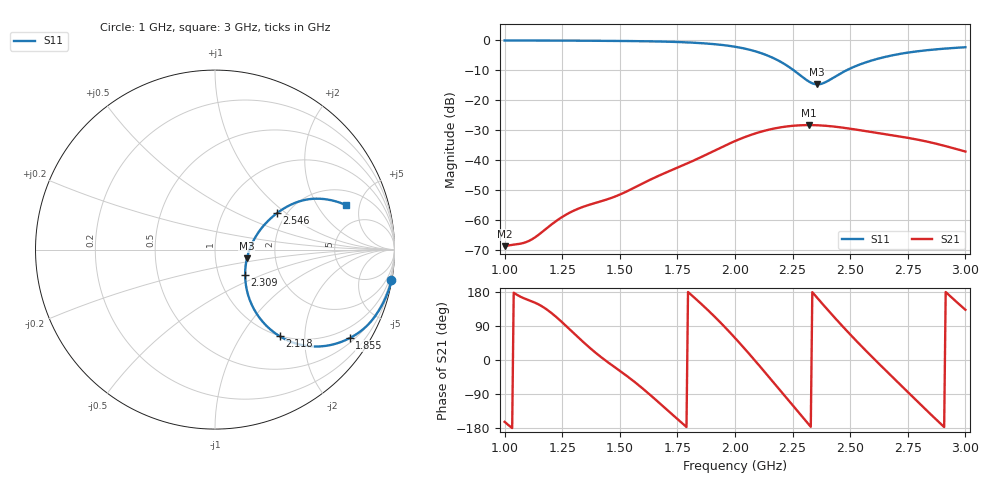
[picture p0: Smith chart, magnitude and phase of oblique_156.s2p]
! TOUCHSTONE file generated by CST MICROWAVE STUDIO
! Date and time: Tue Mar 18 00:02:27 2025
! Project name: oblique.cst
! Parameters = {Tilt=40; Fracture=1; B=10; D=160; F=25; Feed=2.85625; L=100; M=10; R=0.384908; S=2; Theta=270; length=57.125; wave=114.25}
! Header version: 2024
! Port assignment regex: !\s*Touchstone port\s*([0-9]+)\s*=\s*(CST MWS port|CST DES external port|CST DES block port)\s*(.+)\s* \(\"(.*)\"\)(\s*mode\s*([0-9]+))?.*
! Touchstone port assignment:
! Touchstone port 1 = CST MWS port 1 ("")
! Touchstone port 2 = CST MWS port 2 ("")
# GHz S DB R 50
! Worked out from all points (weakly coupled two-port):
!   305 points, 1 GHz to 3 GHz, reference 50 ohm
!   highest |S21| = -28.29 dB at 2.322 GHz (marker M1); lowest = -68.7 dB at 1 GHz (marker M2)
!   lowest |S11| = -14.7 dB at 2.355 GHz (marker M3), VSWR 1.45, Z = 71.2 - j7.21 ohm
!   |S11| at or under -10 dB: 2.255 GHz to 2.483 GHz (228.3 MHz wide, 9.64 % of centre)
!   S12 and S22 are empty: the file has one direction only
!   S11 on the Smith chart (normalised r, x): 1 GHz: 0, -12; 1.855 GHz: 0.63, -3.23; 2.118 GHz: 0.99, -1.51; 2.309 GHz: 1.34, -0.40; 2.546 GHz: 1.79, +0.87; 3 GHz: 3.01, +3.66
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1  -0.02 -9.8  -68.73 -163.1  -200.00 0.0  -200.00 0.0
1.07237  -0.03 -10.8  -67.83 166.0  -200.00 0.0  -200.00 0.0
1.11184  -0.03 -11.3  -66.73 156.2  -200.00 0.0  -200.00 0.0
1.25  -0.07 -13.6  -58.97 99.4  -200.00 0.0  -200.00 0.0
1.33553  -0.10 -15.2  -55.73 50.7  -200.00 0.0  -200.00 0.0
1.48684  -0.17 -18.6  -51.92 -22.9  -200.00 0.0  -200.00 0.0
1.67105  -0.36 -24.3  -45.13 -113.1  -200.00 0.0  -200.00 0.0
1.85526  -0.93 -33.3  -38.89 147.1  -200.00 0.0  -200.00 0.0
2  -2.12 -43.6  -33.62 58.2  -200.00 0.0  -200.00 0.0
2.05921  -3.04 -48.5  -31.82 17.8  -200.00 0.0  -200.00 0.0
2.11842  -4.39 -53.2  -30.38 -24.1  -200.00 0.0  -200.00 0.0
2.21053  -7.70 -56.9  -28.89 -90.8  -200.00 0.0  -200.00 0.0
2.30921  -13.16 -40.2  -28.29 -162.2  -200.00 0.0  -200.00 0.0
2.32237  -13.82 -34.2  -28.29 -171.6  -200.00 0.0  -200.00 0.0
2.33553  -14.33 -27.2  -28.30 179.0  -200.00 0.0  -200.00 0.0
2.35526  -14.68 -15.4  -28.34 165.1  -200.00 0.0  -200.00 0.0
2.38816  -14.12 3.2  -28.48 142.1  -200.00 0.0  -200.00 0.0
2.48026  -10.12 26.9  -29.27 80.2  -200.00 0.0  -200.00 0.0
2.54605  -7.92 30.5  -30.04 38.3  -200.00 0.0  -200.00 0.0
2.67105  -5.18 29.5  -31.55 -37.5  -200.00 0.0  -200.00 0.0
2.83553  -3.26 23.9  -33.83 -135.2  -200.00 0.0  -200.00 0.0
3  -2.28 18.8  -37.12 132.6  -200.00 0.0  -200.00 0.0
